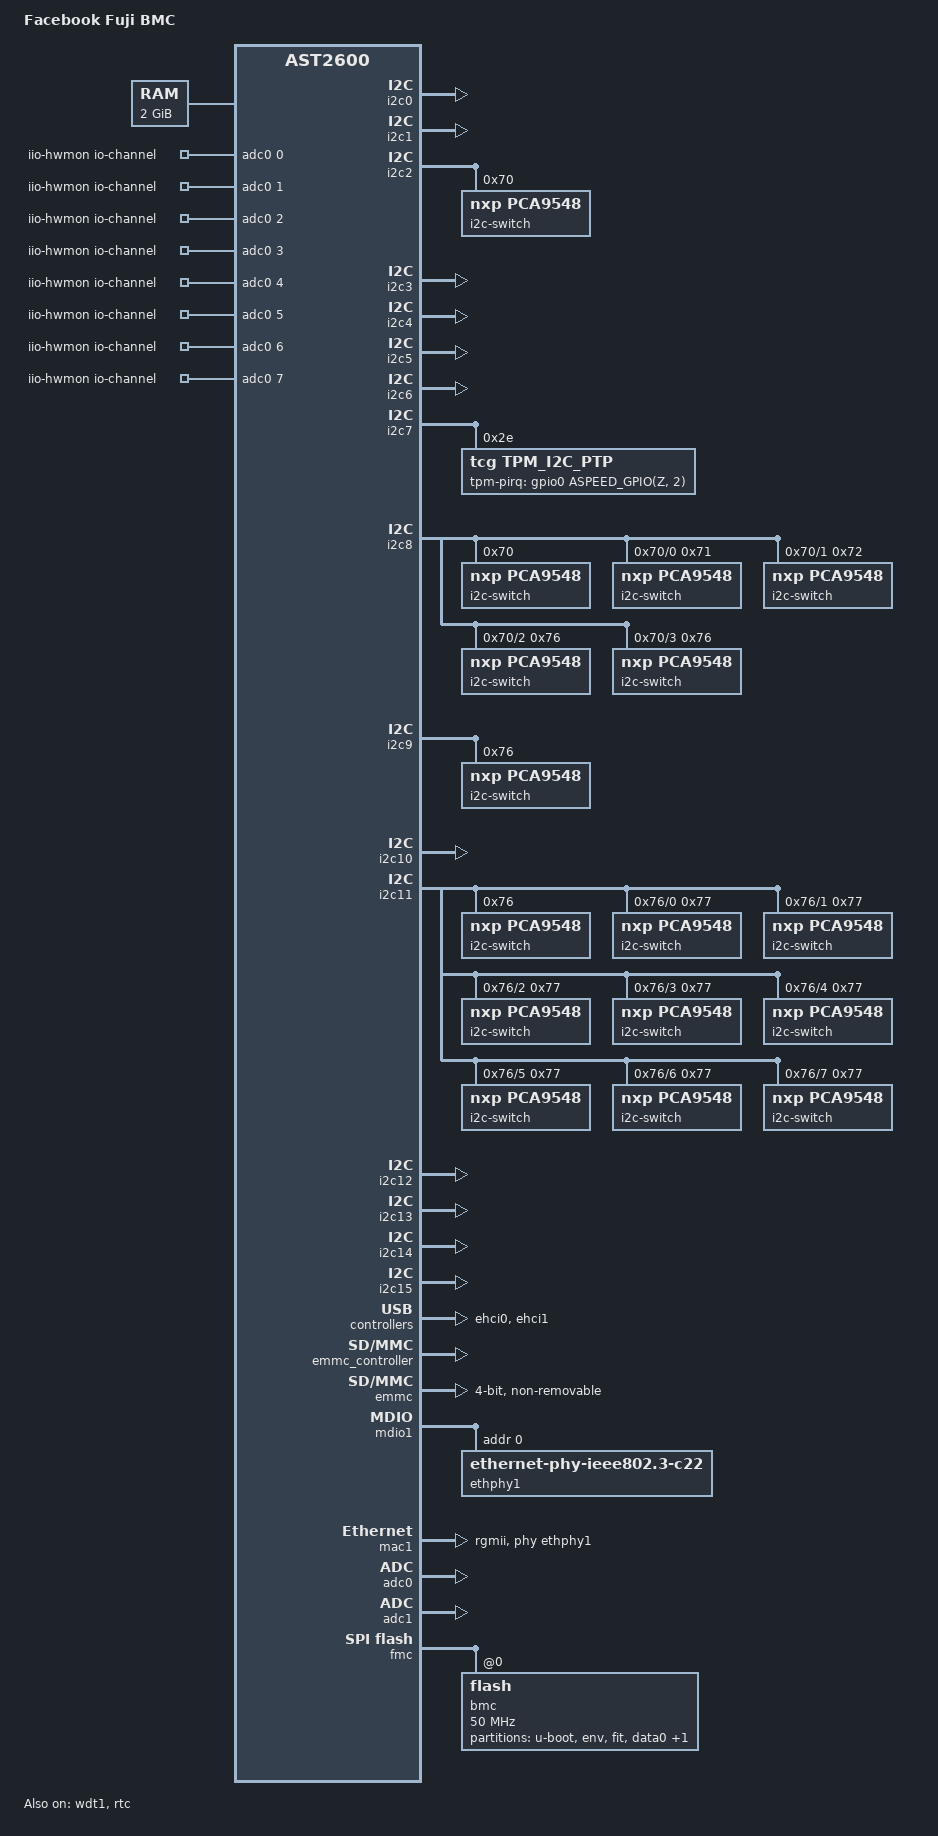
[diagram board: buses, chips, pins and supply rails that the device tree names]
// SPDX-License-Identifier: GPL-2.0-or-later
// Copyright (c) 2020 Facebook Inc.

/dts-v1/;

#include "aspeed-g6.dtsi"
#include <dt-bindings/gpio/aspeed-gpio.h>

/ {
	model = "Facebook Fuji BMC";
	compatible = "facebook,fuji-bmc", "aspeed,ast2600";

	aliases {
		serial0 = &uart5;

		/*
		 * I2C switch 2-0070, pca9548, total 8 child channels
		 * assigned bus number 14-21.
		 */
		i2c16 = &imux16;
		i2c17 = &imux17;
		i2c18 = &imux18;
		i2c19 = &imux19;
		i2c20 = &imux20;
		i2c21 = &imux21;
		i2c22 = &imux22;
		i2c23 = &imux23;

		/*
		 * I2C switch 8-0070, pca9548, total 8 child channels
		 * assigned bus number 22-29.
		 */
		i2c24 = &imux24;
		i2c25 = &imux25;
		i2c26 = &imux26;
		i2c27 = &imux27;
		i2c28 = &imux28;
		i2c29 = &imux29;
		i2c30 = &imux30;
		i2c31 = &imux31;

		/*
		 * I2C switch 11-0076, pca9548, total 8 child channels
		 * assigned bus number 30-37.
		 */
		i2c32 = &imux32;
		i2c33 = &imux33;
		i2c34 = &imux34;
		i2c35 = &imux35;
		i2c36 = &imux36;
		i2c37 = &imux37;
		i2c38 = &imux38;
		i2c39 = &imux39;

		i2c40 = &imux40;
		i2c41 = &imux41;
		i2c42 = &imux42;
		i2c43 = &imux43;
		i2c44 = &imux44;
		i2c45 = &imux45;
		i2c46 = &imux46;
		i2c47 = &imux47;

		i2c48 = &imux48;
		i2c49 = &imux49;
		i2c50 = &imux50;
		i2c51 = &imux51;
		i2c52 = &imux52;
		i2c53 = &imux53;
		i2c54 = &imux54;
		i2c55 = &imux55;

		i2c56 = &imux56;
		i2c57 = &imux57;
		i2c58 = &imux58;
		i2c59 = &imux59;
		i2c60 = &imux60;
		i2c61 = &imux61;
		i2c62 = &imux62;
		i2c63 = &imux63;

		i2c64 = &imux64;
		i2c65 = &imux65;
		i2c66 = &imux66;
		i2c67 = &imux67;
		i2c68 = &imux68;
		i2c69 = &imux69;
		i2c70 = &imux70;
		i2c71 = &imux71;

		i2c72 = &imux72;
		i2c73 = &imux73;
		i2c74 = &imux74;
		i2c75 = &imux75;
		i2c76 = &imux76;
		i2c77 = &imux77;
		i2c78 = &imux78;
		i2c79 = &imux79;

		i2c80 = &imux80;
		i2c81 = &imux81;
		i2c82 = &imux82;
		i2c83 = &imux83;
		i2c84 = &imux84;
		i2c85 = &imux85;
		i2c86 = &imux86;
		i2c87 = &imux87;

		i2c88 = &imux88;
		i2c89 = &imux89;
		i2c90 = &imux90;
		i2c91 = &imux91;
		i2c92 = &imux92;
		i2c93 = &imux93;
		i2c94 = &imux94;
		i2c95 = &imux95;

		i2c96 = &imux96;
		i2c97 = &imux97;
		i2c98 = &imux98;
		i2c99 = &imux99;
		i2c100 = &imux100;
		i2c101 = &imux101;
		i2c102 = &imux102;
		i2c103 = &imux103;

		i2c104 = &imux104;
		i2c105 = &imux105;
		i2c106 = &imux106;
		i2c107 = &imux107;
		i2c108 = &imux108;
		i2c109 = &imux109;
		i2c110 = &imux110;
		i2c111 = &imux111;

		i2c112 = &imux112;
		i2c113 = &imux113;
		i2c114 = &imux114;
		i2c115 = &imux115;
		i2c116 = &imux116;
		i2c117 = &imux117;
		i2c118 = &imux118;
		i2c119 = &imux119;

		i2c120 = &imux120;
		i2c121 = &imux121;
		i2c122 = &imux122;
		i2c123 = &imux123;
		i2c124 = &imux124;
		i2c125 = &imux125;
		i2c126 = &imux126;
		i2c127 = &imux127;

		i2c128 = &imux128;
		i2c129 = &imux129;
		i2c130 = &imux130;
		i2c131 = &imux131;
		i2c132 = &imux132;
		i2c133 = &imux133;
		i2c134 = &imux134;
		i2c135 = &imux135;

		i2c136 = &imux136;
		i2c137 = &imux137;
		i2c138 = &imux138;
		i2c139 = &imux139;
		i2c140 = &imux140;
		i2c141 = &imux141;
		i2c142 = &imux142;
		i2c143 = &imux143;

		mmc0 = &emmc;
	};

	chosen {
		bootargs = "console=ttyS0,9600n8 root=/dev/ram rw vmalloc=384M";
	};

	memory@80000000 {
		device_type = "memory";
		reg = <0x80000000 0x80000000>;
	};
	iio-hwmon {
		compatible = "iio-hwmon";
		io-channels = <&adc0 0>, <&adc0 1>, <&adc0 2>, <&adc0 3>,
				<&adc0 4>, <&adc0 5>, <&adc0 6>, <&adc0 7>,
				<&adc1 0>, <&adc1 1>, <&adc1 2>, <&adc1 3>,
				<&adc1 4>, <&adc1 5>, <&adc1 6>, <&adc1 7>;
	};
};

&uart5 {
	/* Workaround for AST2600 A0 */
	compatible = "snps,dw-apb-uart";
};

&wdt1 {
	status = "okay";
};

&i2c0 {
	status = "okay";
	multi-master;
	bus-frequency = <1000000>;
	aspeed,hw-timeout-ms = <1000>;
};

&i2c1 {
	status = "okay";
};

&i2c2 {
	status = "okay";

	i2c-switch@70 {
		compatible = "nxp,pca9548";
		#address-cells = <1>;
		#size-cells = <0>;
		reg = <0x70>;

		imux16: i2c@0 {
			#address-cells = <1>;
			#size-cells = <0>;
			reg = <0>;
		};

		imux17: i2c@1 {
			#address-cells = <1>;
			#size-cells = <0>;
			reg = <1>;
		};

		imux18: i2c@2 {
			#address-cells = <1>;
			#size-cells = <0>;
			reg = <2>;
		};

		imux19: i2c@3 {
			#address-cells = <1>;
			#size-cells = <0>;
			reg = <3>;
		};

		imux20: i2c@4 {
			#address-cells = <1>;
			#size-cells = <0>;
			reg = <4>;
		};

		imux21: i2c@5 {
			#address-cells = <1>;
			#size-cells = <0>;
			reg = <5>;
		};

		imux22: i2c@6 {
			#address-cells = <1>;
			#size-cells = <0>;
			reg = <6>;
		};

		imux23: i2c@7 {
			#address-cells = <1>;
			#size-cells = <0>;
			reg = <7>;
		};
	};
};

&i2c3 {
	status = "okay";
};

&i2c4 {
	status = "okay";
};

&i2c5 {
	status = "okay";
};

&i2c6 {
	status = "okay";
};

&i2c7 {
	status = "okay";

	tpm_i2c_ptp@2e {
		compatible = "tcg,tpm_i2c_ptp";
		reg = <0x2e>;
		tpm-pirq = <&gpio0 ASPEED_GPIO(Z, 2) GPIO_ACTIVE_HIGH>;
	};
};

&i2c8 {
	status = "okay";

	i2c-switch@70 {
		compatible = "nxp,pca9548";
		#address-cells = <1>;
		#size-cells = <0>;
		reg = <0x70>;

		imux24: i2c@0 {
			#address-cells = <1>;
			#size-cells = <0>;
			reg = <0>;

			i2c-switch@71 {
				compatible = "nxp,pca9548";
				#address-cells = <1>;
				#size-cells = <0>;
				reg = <0x71>;

				imux48: i2c@0 {
					#address-cells = <1>;
					#size-cells = <0>;
					reg = <0>;
				};

				imux49: i2c@1 {
					#address-cells = <1>;
					#size-cells = <0>;
					reg = <1>;
				};

				imux50: i2c@2 {
					#address-cells = <1>;
					#size-cells = <0>;
					reg = <2>;
				};

				imux51: i2c@3 {
					#address-cells = <1>;
					#size-cells = <0>;
					reg = <3>;
				};

				imux52: i2c@4 {
					#address-cells = <1>;
					#size-cells = <0>;
					reg = <4>;
				};

			    imux53: i2c@5 {
					#address-cells = <1>;
					#size-cells = <0>;
					reg = <5>;
				};

				imux54: i2c@6 {
					#address-cells = <1>;
					#size-cells = <0>;
					reg = <6>;
				};

				imux55: i2c@7 {
					#address-cells = <1>;
					#size-cells = <0>;
					reg = <7>;
				};
			};

		};

		imux25: i2c@1 {
			#address-cells = <1>;
			#size-cells = <0>;
			reg = <1>;

			i2c-switch@72 {
				compatible = "nxp,pca9548";
				#address-cells = <1>;
				#size-cells = <0>;
				reg = <0x72>;

				imux56: i2c@0 {
					#address-cells = <1>;
					#size-cells = <0>;
					reg = <0>;
				};

				imux57: i2c@1 {
					#address-cells = <1>;
					#size-cells = <0>;
					reg = <1>;
				};

				imux58: i2c@2 {
					#address-cells = <1>;
					#size-cells = <0>;
					reg = <2>;
				};

				imux59: i2c@3 {
					#address-cells = <1>;
					#size-cells = <0>;
					reg = <3>;
				};

				imux60: i2c@4 {
					#address-cells = <1>;
					#size-cells = <0>;
					reg = <4>;
				};

			    imux61: i2c@5 {
					#address-cells = <1>;
					#size-cells = <0>;
					reg = <5>;
				};

				imux62: i2c@6 {
					#address-cells = <1>;
					#size-cells = <0>;
					reg = <6>;
				};

				imux63: i2c@7 {
					#address-cells = <1>;
					#size-cells = <0>;
					reg = <7>;
				};
			};

		};

		imux26: i2c@2 {
			#address-cells = <1>;
			#size-cells = <0>;
			reg = <2>;

			i2c-switch@76 {
				compatible = "nxp,pca9548";
				#address-cells = <1>;
				#size-cells = <0>;
				reg = <0x76>;

				imux64: i2c@0 {
					#address-cells = <1>;
					#size-cells = <0>;
					reg = <0>;
				};

				imux65: i2c@1 {
					#address-cells = <1>;
					#size-cells = <0>;
					reg = <1>;
				};

				imux66: i2c@2 {
					#address-cells = <1>;
					#size-cells = <0>;
					reg = <2>;
				};

				imux67: i2c@3 {
					#address-cells = <1>;
					#size-cells = <0>;
					reg = <3>;
				};

				imux68: i2c@4 {
					#address-cells = <1>;
					#size-cells = <0>;
					reg = <4>;
				};

			    imux69: i2c@5 {
					#address-cells = <1>;
					#size-cells = <0>;
					reg = <5>;
				};

				imux70: i2c@6 {
					#address-cells = <1>;
					#size-cells = <0>;
					reg = <6>;
				};

				imux71: i2c@7 {
					#address-cells = <1>;
					#size-cells = <0>;
					reg = <7>;
				};
			};

		};

		imux27: i2c@3 {
			#address-cells = <1>;
			#size-cells = <0>;
			reg = <3>;

			i2c-switch@76 {
				compatible = "nxp,pca9548";
				#address-cells = <1>;
				#size-cells = <0>;
				reg = <0x76>;

				imux72: i2c@0 {
					#address-cells = <1>;
					#size-cells = <0>;
					reg = <0>;
				};

				imux73: i2c@1 {
					#address-cells = <1>;
					#size-cells = <0>;
					reg = <1>;
				};

				imux74: i2c@2 {
					#address-cells = <1>;
					#size-cells = <0>;
					reg = <2>;
				};

				imux75: i2c@3 {
					#address-cells = <1>;
					#size-cells = <0>;
					reg = <3>;
				};

				imux76: i2c@4 {
					#address-cells = <1>;
					#size-cells = <0>;
					reg = <4>;
				};

			    imux77: i2c@5 {
					#address-cells = <1>;
					#size-cells = <0>;
					reg = <5>;
				};

				imux78: i2c@6 {
					#address-cells = <1>;
					#size-cells = <0>;
					reg = <6>;
				};

				imux79: i2c@7 {
					#address-cells = <1>;
					#size-cells = <0>;
					reg = <7>;
				};
			};

		};

		imux28: i2c@4 {
			#address-cells = <1>;
			#size-cells = <0>;
			reg = <4>;
		};

		imux29: i2c@5 {
			#address-cells = <1>;
			#size-cells = <0>;
			reg = <5>;
		};

		imux30: i2c@6 {
			#address-cells = <1>;
			#size-cells = <0>;
			reg = <6>;
		};

		imux31: i2c@7 {
			#address-cells = <1>;
			#size-cells = <0>;
			reg = <7>;
		};

	};
};

&i2c9 {
	status = "okay";

	i2c-switch@70 {
		compatible = "nxp,pca9548";
		#address-cells = <1>;
		#size-cells = <0>;
		reg = <0x76>;

		imux32: i2c@0 {
			#address-cells = <1>;
			#size-cells = <0>;
			reg = <0>;
		};

		imux33: i2c@1 {
			#address-cells = <1>;
			#size-cells = <0>;
			reg = <1>;
		};

		imux34: i2c@2 {
			#address-cells = <1>;
			#size-cells = <0>;
			reg = <2>;
		};

		imux35: i2c@3 {
			#address-cells = <1>;
			#size-cells = <0>;
			reg = <3>;
		};

		imux36: i2c@4 {
			#address-cells = <1>;
			#size-cells = <0>;
			reg = <4>;
		};

		imux37: i2c@5 {
			#address-cells = <1>;
			#size-cells = <0>;
			reg = <5>;
		};

		imux38: i2c@6 {
			#address-cells = <1>;
			#size-cells = <0>;
			reg = <6>;
		};

		imux39: i2c@7 {
			#address-cells = <1>;
			#size-cells = <0>;
			reg = <7>;
		};

	};
};

&i2c10 {
	status = "okay";
};

&i2c11 {
	status = "okay";

	i2c-switch@73 {
		compatible = "nxp,pca9548";
		#address-cells = <1>;
		#size-cells = <0>;
		reg = <0x76>;

		imux40: i2c@0 {
			#address-cells = <1>;
			#size-cells = <0>;
			reg = <0>;

			i2c-switch@77 {
				compatible = "nxp,pca9548";
				#address-cells = <1>;
				#size-cells = <0>;
				reg = <0x77>;

				imux80: i2c@0 {
					#address-cells = <1>;
					#size-cells = <0>;
					reg = <0>;
				};

				imux81: i2c@1 {
					#address-cells = <1>;
					#size-cells = <0>;
					reg = <1>;
				};

				imux82: i2c@2 {
					#address-cells = <1>;
					#size-cells = <0>;
					reg = <2>;
				};

				imux83: i2c@3 {
					#address-cells = <1>;
					#size-cells = <0>;
					reg = <3>;
				};

				imux84: i2c@4 {
					#address-cells = <1>;
					#size-cells = <0>;
					reg = <4>;
				};

			    imux85: i2c@5 {
					#address-cells = <1>;
					#size-cells = <0>;
					reg = <5>;
				};

				imux86: i2c@6 {
					#address-cells = <1>;
					#size-cells = <0>;
					reg = <6>;
				};

				imux87: i2c@7 {
					#address-cells = <1>;
					#size-cells = <0>;
					reg = <7>;
				};
			};

		};

		imux41: i2c@1 {
			#address-cells = <1>;
			#size-cells = <0>;
			reg = <1>;

			i2c-switch@77 {
				compatible = "nxp,pca9548";
				#address-cells = <1>;
				#size-cells = <0>;
				reg = <0x77>;

				imux88: i2c@0 {
					#address-cells = <1>;
					#size-cells = <0>;
					reg = <0>;
				};

				imux89: i2c@1 {
					#address-cells = <1>;
					#size-cells = <0>;
					reg = <1>;
				};

				imux90: i2c@2 {
					#address-cells = <1>;
					#size-cells = <0>;
					reg = <2>;
				};

				imux91: i2c@3 {
					#address-cells = <1>;
					#size-cells = <0>;
					reg = <3>;
				};

				imux92: i2c@4 {
					#address-cells = <1>;
					#size-cells = <0>;
					reg = <4>;
				};

			    imux93: i2c@5 {
					#address-cells = <1>;
					#size-cells = <0>;
					reg = <5>;
				};

				imux94: i2c@6 {
					#address-cells = <1>;
					#size-cells = <0>;
					reg = <6>;
				};

				imux95: i2c@7 {
					#address-cells = <1>;
					#size-cells = <0>;
					reg = <7>;
				};
			};

		};

		imux42: i2c@2 {
			#address-cells = <1>;
			#size-cells = <0>;
			reg = <2>;

			i2c-switch@77 {
				compatible = "nxp,pca9548";
				#address-cells = <1>;
				#size-cells = <0>;
				reg = <0x77>;

				imux96: i2c@0 {
					#address-cells = <1>;
					#size-cells = <0>;
					reg = <0>;
				};

				imux97: i2c@1 {
					#address-cells = <1>;
					#size-cells = <0>;
					reg = <1>;
				};

				imux98: i2c@2 {
					#address-cells = <1>;
					#size-cells = <0>;
					reg = <2>;
				};

				imux99: i2c@3 {
					#address-cells = <1>;
					#size-cells = <0>;
					reg = <3>;
				};

				imux100: i2c@4 {
					#address-cells = <1>;
					#size-cells = <0>;
					reg = <4>;
				};

			    imux101: i2c@5 {
					#address-cells = <1>;
					#size-cells = <0>;
					reg = <5>;
				};

				imux102: i2c@6 {
					#address-cells = <1>;
					#size-cells = <0>;
					reg = <6>;
				};

				imux103: i2c@7 {
					#address-cells = <1>;
					#size-cells = <0>;
					reg = <7>;
				};
			};

		};

		imux43: i2c@3 {
			#address-cells = <1>;
			#size-cells = <0>;
			reg = <3>;

			i2c-switch@77 {
				compatible = "nxp,pca9548";
				#address-cells = <1>;
				#size-cells = <0>;
				reg = <0x77>;

				imux104: i2c@0 {
					#address-cells = <1>;
					#size-cells = <0>;
					reg = <0>;
				};

				imux105: i2c@1 {
					#address-cells = <1>;
					#size-cells = <0>;
					reg = <1>;
				};

				imux106: i2c@2 {
					#address-cells = <1>;
					#size-cells = <0>;
					reg = <2>;
				};

				imux107: i2c@3 {
					#address-cells = <1>;
					#size-cells = <0>;
					reg = <3>;
				};

				imux108: i2c@4 {
					#address-cells = <1>;
					#size-cells = <0>;
					reg = <4>;
				};

			    imux109: i2c@5 {
					#address-cells = <1>;
					#size-cells = <0>;
					reg = <5>;
				};

				imux110: i2c@6 {
					#address-cells = <1>;
					#size-cells = <0>;
					reg = <6>;
				};

				imux111: i2c@7 {
					#address-cells = <1>;
					#size-cells = <0>;
					reg = <7>;
				};
			};

		};

		imux44: i2c@4 {
			#address-cells = <1>;
			#size-cells = <0>;
			reg = <4>;

			i2c-switch@77 {
				compatible = "nxp,pca9548";
				#address-cells = <1>;
				#size-cells = <0>;
				reg = <0x77>;

				imux112: i2c@0 {
					#address-cells = <1>;
					#size-cells = <0>;
					reg = <0>;
				};

				imux113: i2c@1 {
					#address-cells = <1>;
					#size-cells = <0>;
					reg = <1>;
				};

				imux114: i2c@2 {
					#address-cells = <1>;
					#size-cells = <0>;
					reg = <2>;
				};

				imux115: i2c@3 {
					#address-cells = <1>;
					#size-cells = <0>;
					reg = <3>;
				};

				imux116: i2c@4 {
					#address-cells = <1>;
					#size-cells = <0>;
					reg = <4>;
				};

			    imux117: i2c@5 {
					#address-cells = <1>;
					#size-cells = <0>;
					reg = <5>;
				};

				imux118: i2c@6 {
					#address-cells = <1>;
					#size-cells = <0>;
					reg = <6>;
				};

				imux119: i2c@7 {
					#address-cells = <1>;
					#size-cells = <0>;
					reg = <7>;
				};
			};

		};

		imux45: i2c@5 {
			#address-cells = <1>;
			#size-cells = <0>;
			reg = <5>;

			i2c-switch@77 {
				compatible = "nxp,pca9548";
				#address-cells = <1>;
				#size-cells = <0>;
				reg = <0x77>;

				imux120: i2c@0 {
					#address-cells = <1>;
					#size-cells = <0>;
					reg = <0>;
				};

				imux121: i2c@1 {
					#address-cells = <1>;
					#size-cells = <0>;
					reg = <1>;
				};

				imux122: i2c@2 {
					#address-cells = <1>;
					#size-cells = <0>;
					reg = <2>;
				};

				imux123: i2c@3 {
					#address-cells = <1>;
					#size-cells = <0>;
					reg = <3>;
				};

				imux124: i2c@4 {
					#address-cells = <1>;
					#size-cells = <0>;
					reg = <4>;
				};

			    imux125: i2c@5 {
					#address-cells = <1>;
					#size-cells = <0>;
					reg = <5>;
				};

				imux126: i2c@6 {
					#address-cells = <1>;
					#size-cells = <0>;
					reg = <6>;
				};

				imux127: i2c@7 {
					#address-cells = <1>;
					#size-cells = <0>;
					reg = <7>;
				};
			};

		};

		imux46: i2c@6 {
			#address-cells = <1>;
			#size-cells = <0>;
			reg = <6>;

			i2c-switch@77 {
				compatible = "nxp,pca9548";
				#address-cells = <1>;
				#size-cells = <0>;
				reg = <0x77>;

				imux128: i2c@0 {
					#address-cells = <1>;
					#size-cells = <0>;
					reg = <0>;
				};

				imux129: i2c@1 {
					#address-cells = <1>;
					#size-cells = <0>;
					reg = <1>;
				};

				imux130: i2c@2 {
					#address-cells = <1>;
					#size-cells = <0>;
					reg = <2>;
				};

				imux131: i2c@3 {
					#address-cells = <1>;
					#size-cells = <0>;
					reg = <3>;
				};

				imux132: i2c@4 {
					#address-cells = <1>;
					#size-cells = <0>;
					reg = <4>;
				};

			    imux133: i2c@5 {
					#address-cells = <1>;
					#size-cells = <0>;
					reg = <5>;
				};

				imux134: i2c@6 {
					#address-cells = <1>;
					#size-cells = <0>;
					reg = <6>;
				};

				imux135: i2c@7 {
					#address-cells = <1>;
					#size-cells = <0>;
					reg = <7>;
				};
			};

		};

		imux47: i2c@7 {
			#address-cells = <1>;
			#size-cells = <0>;
			reg = <7>;

			i2c-switch@77 {
				compatible = "nxp,pca9548";
				#address-cells = <1>;
				#size-cells = <0>;
				reg = <0x77>;

				imux136: i2c@0 {
					#address-cells = <1>;
					#size-cells = <0>;
					reg = <0>;
				};

				imux137: i2c@1 {
					#address-cells = <1>;
					#size-cells = <0>;
					reg = <1>;
				};

				imux138: i2c@2 {
					#address-cells = <1>;
					#size-cells = <0>;
					reg = <2>;
				};

				imux139: i2c@3 {
					#address-cells = <1>;
					#size-cells = <0>;
					reg = <3>;
				};

				imux140: i2c@4 {
					#address-cells = <1>;
					#size-cells = <0>;
					reg = <4>;
				};

			    imux141: i2c@5 {
					#address-cells = <1>;
					#size-cells = <0>;
					reg = <5>;
				};

				imux142: i2c@6 {
					#address-cells = <1>;
					#size-cells = <0>;
					reg = <6>;
				};

				imux143: i2c@7 {
					#address-cells = <1>;
					#size-cells = <0>;
					reg = <7>;
				};
			};

		};

	};
};

&i2c12 {
	status = "okay";
};

&i2c13 {
	status = "okay";
};

&i2c14 {
	status = "okay";
};

&i2c15 {
	status = "okay";
};

&ehci0 {
	status = "okay";
};

&ehci1 {
	status = "okay";
};

&emmc_controller {
	status = "okay";
};

&emmc {
	status = "okay";

	non-removable;
	max-frequency = <100000000>;
	/* AST2600 A0 only support PIO mode */
	sdhci-caps-mask = <0x0 0x580000>;
#if 1
	bus-width = <4>;
#else
	bus-width = <8>;
	pinctrl-0 = <&pinctrl_emmc_default
			&pinctrl_emmcdat4_default
			&pinctrl_emmcdat5_default
			&pinctrl_emmcdat6_default
			&pinctrl_emmcdat7_default>;
#endif
};

&mdio1 {
	status = "okay";

	ethphy1: ethernet-phy@0 {
		compatible = "ethernet-phy-ieee802.3-c22";
		reg = <0>;
	};
};

&mac1 {
	status = "okay";

	phy-mode = "rgmii";
	phy-handle = <&ethphy1>;

	pinctrl-names = "default";
	pinctrl-0 = <&pinctrl_rgmii2_default>;
};

&rtc {
	status = "okay";
};

&adc0 {
	ref_voltage = <2500>;
	status = "okay";

	pinctrl-0 = <&pinctrl_adc0_default &pinctrl_adc1_default
		&pinctrl_adc2_default &pinctrl_adc3_default
		&pinctrl_adc4_default &pinctrl_adc5_default
		&pinctrl_adc6_default &pinctrl_adc7_default>;
};

&adc1 {
	ref_voltage = <2500>;
	status = "okay";

	pinctrl-0 = <&pinctrl_adc8_default &pinctrl_adc9_default
		&pinctrl_adc10_default &pinctrl_adc11_default
		&pinctrl_adc12_default &pinctrl_adc13_default
		&pinctrl_adc14_default &pinctrl_adc15_default>;
};

&fmc {
	status = "okay";
	flash@0 {
		status = "okay";
		m25p,fast-read;
		label = "bmc";
		spi-max-frequency = <50000000>;

		partitions {
			compatible = "fixed-partitions";
			#address-cells = <1>;
			#size-cells = <1>;

			u-boot@0 {
				reg = <0x0 0xe0000>; // 896KB
				label = "u-boot";
			};

			u-boot-env@e0000 {
				reg = <0xe0000 0x20000>; // 128KB
				label = "env";
			};

			fit@100000 {
				reg = <0x100000 0x1B00000>; // 27MB
				label = "fit";
			};

			data0@1c00000 {
				reg = <0x1c00000 0x400000>;
				label = "data0";
			};

			flash0@0 {
				reg = <0x0 0x2000000>;
				label = "flash0";
			};

		};
	};
};

&gpio0 {
	pin_gpio_b2 {
		gpios = <&gpio0 ASPEED_GPIO(B, 2) GPIO_ACTIVE_LOW>;
		output;
		line-name = "GPO1";
	};

	pin_gpio_f0 {
		gpios = <&gpio0 ASPEED_GPIO(F, 0) GPIO_ACTIVE_LOW>;
		output;
		line-name = "BMC_JTAG_MUX_IN";
	};

	pin_gpio_f1 {
		gpios = <&gpio0 ASPEED_GPIO(F, 1) GPIO_ACTIVE_HIGH>;
		output;
		line-name = "BMC_UART_SEL_0";
	};

	pin_gpio_f2 {
		gpios = <&gpio0 ASPEED_GPIO(F, 2) GPIO_ACTIVE_HIGH>;
		output;
		line-name = "BMC_FCM_1_SEL";
	};

	pin_gpio_f3 {
		gpios = <&gpio0 ASPEED_GPIO(F, 3) GPIO_ACTIVE_HIGH>;
		input;
		line-name = "FCM_2_CARD_PRESENT";
	};

	pin_gpio_f4 {
		gpios = <&gpio0 ASPEED_GPIO(F, 4) GPIO_ACTIVE_LOW>;
		input;
		line-name = "FCM_1_CARD_PRESENT";
	};

	pin_gpio_f5 {
		gpios = <&gpio0 ASPEED_GPIO(F, 5) GPIO_ACTIVE_LOW>;
		output;
		line-name = "BMC_SCM_CPLD_JTAG_EN_N";
	};

	pin_gpio_f6 {
		gpios = <&gpio0 ASPEED_GPIO(F, 6) GPIO_ACTIVE_HIGH>;
		output;
		line-name = "FCM_2_CPLD_JTAG_EN_N";
	};

	pin_gpio_f7 {
		gpios = <&gpio0 ASPEED_GPIO(F, 7) GPIO_ACTIVE_HIGH>;
		output;
		line-name = "BMC_FCM_2_SEL";
	};

	pin_gpio_g0 {
		gpios = <&gpio0 ASPEED_GPIO(G, 0) GPIO_ACTIVE_HIGH>;
		output;
		line-name = "FCM_1_CPLD_JTAG_EN_N";
	};

	pin_gpio_g1 {
		gpios = <&gpio0 ASPEED_GPIO(G, 7) GPIO_ACTIVE_HIGH>;
		output;
		line-name = "BMC_GPIO63";
	};

	pin_gpio_g2 {
		gpios = <&gpio0 ASPEED_GPIO(G, 2) GPIO_ACTIVE_HIGH>;
		output;
		line-name = "UCD90160A_CNTRL";
	};

	pin_gpio_g3 {
		gpios = <&gpio0 ASPEED_GPIO(G, 3) GPIO_ACTIVE_HIGH>;
		output;
		line-name = "BMC_UART_SEL_3";
	};

	pin_gpio_g4 {
		gpios = <&gpio0 ASPEED_GPIO(G, 4) GPIO_ACTIVE_HIGH>;
		output;
		line-name = "SYS_CPLD_JTAG_EN_N";
	};

	pin_gpio_g6 {
		gpios = <&gpio0 ASPEED_GPIO(G, 6) GPIO_ACTIVE_HIGH>;
		output;
		line-name = "BMC_I2C_SEL";
	};

	pin_gpio_g7 {
		gpios = <&gpio0 ASPEED_GPIO(G, 7) GPIO_ACTIVE_LOW>;
		output;
		line-name = "BMC_GPIO53";
	};

	pin_gpio_h0 {
		gpios = <&gpio0 ASPEED_GPIO(H, 0) GPIO_ACTIVE_LOW>;
		output;
		line-name = "GPIO5_SGPMCK";
	};

	pin_gpio_h1 {
		gpios = <&gpio0 ASPEED_GPIO(H, 1) GPIO_ACTIVE_LOW>;
		output;
		line-name = "GPIO0_SGPMLD";
	};

	pin_gpio_h2 {
		gpios = <&gpio0 ASPEED_GPIO(H, 2) GPIO_ACTIVE_LOW>;
		output;
		line-name = "GPIO3_SGPMO";
	};

	pin_gpio_h3 {
		gpios = <&gpio0 ASPEED_GPIO(H, 3) GPIO_ACTIVE_LOW>;
		input;
		line-name = "GPIO1_SGPMI";
	};

	pin_gpio_i5 {
		gpios = <&gpio0 ASPEED_GPIO(I, 5) GPIO_ACTIVE_LOW>;
		input;
		line-name = "FPGA_BMC_CONFIG_DONE";
	};

	pin_gpio_i7 {
		gpios = <&gpio0 ASPEED_GPIO(I, 7) GPIO_ACTIVE_LOW>;
		input;
		line-name = "FPGA_NSTATUS";
	};

	pin_gpio_l6 {
		gpios = <&gpio0 ASPEED_GPIO(L, 6) GPIO_ACTIVE_LOW>;
		input;
		line-name = "VGAHS_GPIO2";
	};

	pin_gpio_l7 {
		gpios = <&gpio0 ASPEED_GPIO(L, 7) GPIO_ACTIVE_LOW>;
		input;
		line-name = "VGAVS_GPIO4";
	};

	pin_gpio_m0 {
		gpios = <&gpio0 ASPEED_GPIO(M, 0) GPIO_ACTIVE_LOW>;
		input;
		line-name = "BMC_UART1_NCTS";
	};

	pin_gpio_m2 {
		gpios = <&gpio0 ASPEED_GPIO(M, 2) GPIO_ACTIVE_LOW>;
		input;
		line-name = "BMC_UART1_NDSR";
	};

	pin_gpio_m3 {
		gpios = <&gpio0 ASPEED_GPIO(M, 3) GPIO_ACTIVE_LOW>;
		output;
		line-name = "BMC_UART_SEL_1";
	};

	pin_gpio_m4 {
		gpios = <&gpio0 ASPEED_GPIO(M, 4) GPIO_ACTIVE_LOW>;
		output;
		line-name = "BMC_UART1_NDTR";
	};

	pin_gpio_m5 {
		gpios = <&gpio0 ASPEED_GPIO(M, 5) GPIO_ACTIVE_LOW>;
		output;
		line-name = "BMC_UART1_NRTS";
	};

	pin_gpio_n0 {
		gpios = <&gpio0 ASPEED_GPIO(N, 0) GPIO_ACTIVE_LOW>;
		input;
		line-name = "TEMP_SENSOR_ALERT";
	};

	pin_gpio_n1 {
		gpios = <&gpio0 ASPEED_GPIO(N, 1) GPIO_ACTIVE_LOW>;
		input;
		line-name = "RESERVED_GPIO67";
	};

	pin_gpio_n2 {
		gpios = <&gpio0 ASPEED_GPIO(N, 2) GPIO_ACTIVE_LOW>;
		input;
		line-name = "CPU_RST#";
	};

	pin_gpio_p0 {
		gpios = <&gpio0 ASPEED_GPIO(P, 0) GPIO_ACTIVE_LOW>;
		output;
		line-name = "BMC_UART_SEL_2";
	};

	pin_gpio_p2 {
		gpios = <&gpio0 ASPEED_GPIO(P, 2) GPIO_ACTIVE_LOW>;
		input;
		line-name = "GPIO85_PASSTHRU1_IN";
	};

	pin_gpio_p3 {
		gpios = <&gpio0 ASPEED_GPIO(P, 3) GPIO_ACTIVE_LOW>;
		output;
		line-name = "GPIO45_PASSTHRU1_OUT";
	};

	pin_gpio_p4 {
		gpios = <&gpio0 ASPEED_GPIO(P, 4) GPIO_ACTIVE_LOW>;
		input;
		line-name = "GPIO109_PASSTHRU2_IN";
	};

	pin_gpio_p5 {
		gpios = <&gpio0 ASPEED_GPIO(P, 5) GPIO_ACTIVE_LOW>;
		input;
		line-name = "GPIO21_PASSTHRU2_OUT";
	};

	pin_gpio_p6 {
		gpios = <&gpio0 ASPEED_GPIO(P, 6) GPIO_ACTIVE_LOW>;
		output;
		line-name = "BMC_GPIO61";
	};

	pin_gpio_v0 {
		gpios = <&gpio0 ASPEED_GPIO(V, 0) GPIO_ACTIVE_LOW>;
		input;
		line-name = "GPIO37_INDICATOR#";
	};

	pin_gpio_v1 {
		gpios = <&gpio0 ASPEED_GPIO(V, 1) GPIO_ACTIVE_LOW>;
		output;
		line-name = "UCD90160A_2_GPI1";
	};

	pin_gpio_v2 {
		gpios = <&gpio0 ASPEED_GPIO(V, 2) GPIO_ACTIVE_LOW>;
		output;
		line-name = "UCD90160A_1_GPI1";
	};

	pin_gpio_v3 {
		gpios = <&gpio0 ASPEED_GPIO(V, 3) GPIO_ACTIVE_LOW>;
		input;
		line-name = "PWRMONITOR_BMC";
	};

	pin_gpio_v4 {
		gpios = <&gpio0 ASPEED_GPIO(V, 4) GPIO_ACTIVE_LOW>;
		input;
		line-name = "BMC_PWRGD";
	};

	pin_gpio_v5 {
		gpios = <&gpio0 ASPEED_GPIO(V, 5) GPIO_ACTIVE_LOW>;
		output;
		line-name = "FPGA_DEV_CLR_N";
	};

	pin_gpio_v6 {
		gpios = <&gpio0 ASPEED_GPIO(V, 6) GPIO_ACTIVE_LOW>;
		output;
		line-name = "FPGA_DEV_OE";
	};

	pin_gpio_v7 {
		gpios = <&gpio0 ASPEED_GPIO(V, 7) GPIO_ACTIVE_LOW>;
		output;
		line-name = "FPGA_CONFIG_SEL";
	};

	pin_gpio_x0 {
		gpios = <&gpio0 ASPEED_GPIO(X, 0) GPIO_ACTIVE_LOW>;
		output;
		line-name = "BMC_TPM_SPI_CS_N";
	};

	pin_gpio_x1 {
		gpios = <&gpio0 ASPEED_GPIO(X, 1) GPIO_ACTIVE_LOW>;
		input;
		line-name = "SPI2CS1#_GPIO86";
	};

	pin_gpio_x2 {
		gpios = <&gpio0 ASPEED_GPIO(X, 2) GPIO_ACTIVE_LOW>;
		input;
		line-name = "SPI2CS2#_GPIO84";
	};

	pin_gpio_x3 {
		gpios = <&gpio0 ASPEED_GPIO(X, 3) GPIO_ACTIVE_LOW>;
		input;
		line-name = "SPI2CK_GPIO78";
	};

	pin_gpio_x4 {
		gpios = <&gpio0 ASPEED_GPIO(X, 4) GPIO_ACTIVE_LOW>;
		input;
		line-name = "SPI2MOSI_GPIO82";
	};

	pin_gpio_x5 {
		gpios = <&gpio0 ASPEED_GPIO(X, 5) GPIO_ACTIVE_LOW>;
		input;
		line-name = "SPI2MISO_GPIO80";
	};

	pin_gpio_x6 {
		gpios = <&gpio0 ASPEED_GPIO(X, 6) GPIO_ACTIVE_LOW>;
		output;
		line-name = "BMC_FPGA_JTAG_EN";
	};

	pin_gpio_x7 {
		gpios = <&gpio0 ASPEED_GPIO(X, 7) GPIO_ACTIVE_LOW>;
		input;
		line-name = "BMC_TPM_SPI_PIRQ_N";
	};

	pin_gpio_y0 {
		gpios = <&gpio0 ASPEED_GPIO(Y, 0) GPIO_ACTIVE_LOW>;
		output;
		line-name = "WDTRST1_GPIO59";
	};

	pin_gpio_y1 {
		gpios = <&gpio0 ASPEED_GPIO(Y, 1) GPIO_ACTIVE_LOW>;
		output;
		line-name = "WDTRST2_GPIO51";
	};

	pin_gpio_y2 {
		gpios = <&gpio0 ASPEED_GPIO(Y, 2) GPIO_ACTIVE_LOW>;
		output;
		line-name = "BMC_GPIO57";
	};

	pin_gpio_y3 {
		gpios = <&gpio0 ASPEED_GPIO(Y, 3) GPIO_ACTIVE_LOW>;
		output;
		line-name = "BMC_GPIO55";
	};

	pin_gpio_y4 {
		gpios = <&gpio0 ASPEED_GPIO(Y, 4) GPIO_ACTIVE_LOW>;
		output;
		line-name = "FWSPI_IO2_GPIO41";
	};

	pin_gpio_y5 {
		gpios = <&gpio0 ASPEED_GPIO(Y, 5) GPIO_ACTIVE_LOW>;
		output;
		line-name = "FWSPI_IO3_GPIO43";
	};

	pin_gpio_y7 {
		gpios = <&gpio0 ASPEED_GPIO(Y, 7) GPIO_ACTIVE_LOW>;
		input;
		line-name = "GPIO35_FWSPIWP#";
	};

	pin_gpio_z0 {
		gpios = <&gpio0 ASPEED_GPIO(Z, 0) GPIO_ACTIVE_LOW>;
		input;
		line-name = "SPI1CS1#_GPIO124";
	};

	pin_gpio_z1 {
		gpios = <&gpio0 ASPEED_GPIO(Z, 1) GPIO_ACTIVE_LOW>;
		output;
		line-name = "I2C_TPM_PP";
	};

	pin_gpio_z2 {
		gpios = <&gpio0 ASPEED_GPIO(Z, 2) GPIO_ACTIVE_HIGH>;
		input;
		line-name = "I2C_TPM_INT_N";
	};

	pin_gpio_z3 {
		gpios = <&gpio0 ASPEED_GPIO(Z, 3) GPIO_ACTIVE_LOW>;
		input;
		line-name = "SPI1CK_GPIO122";
	};

	pin_gpio_z4 {
		gpios = <&gpio0 ASPEED_GPIO(Z, 4) GPIO_ACTIVE_LOW>;
		input;
		line-name = "SPI1MOSI_IO0_GPO3";
	};

	pin_gpio_z5 {
		gpios = <&gpio0 ASPEED_GPIO(Z, 5) GPIO_ACTIVE_LOW>;
		input;
		line-name = "SPI1MISO_IO1_GPO4";
	};

	pin_gpio_z6 {
		gpios = <&gpio0 ASPEED_GPIO(Z, 6) GPIO_ACTIVE_LOW>;
		output;
		line-name = "GPO5_SPI1_IO2";
	};

	pin_gpio_z7 {
		gpios = <&gpio0 ASPEED_GPIO(Z, 7) GPIO_ACTIVE_LOW>;
		input;
		line-name = "GPIO120_SPI1_IO3";
	};
};
